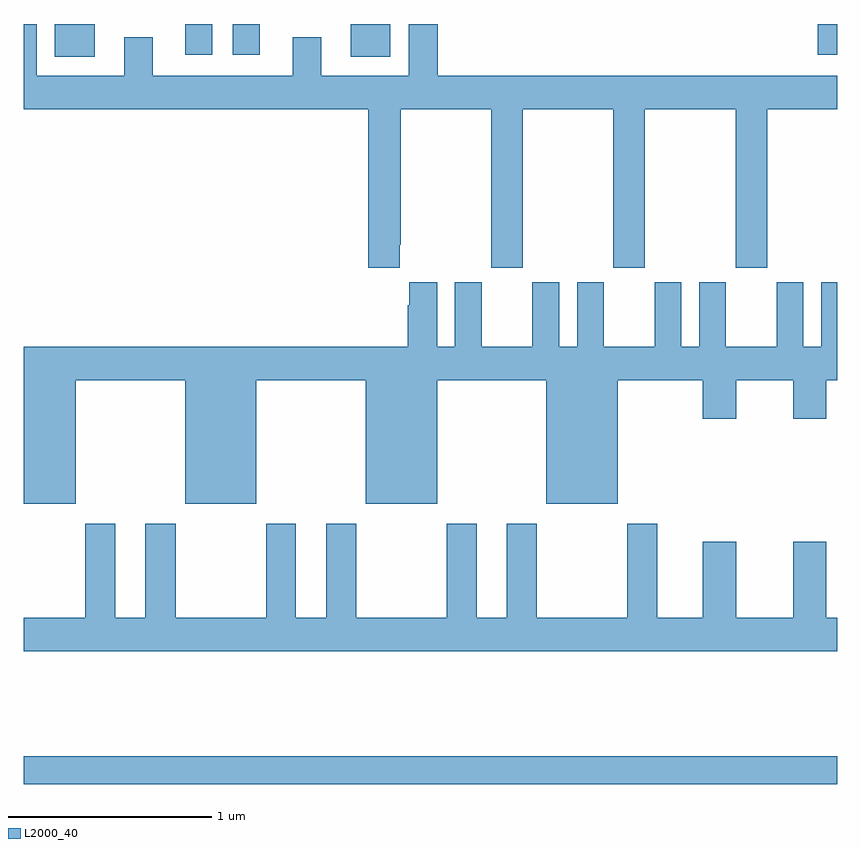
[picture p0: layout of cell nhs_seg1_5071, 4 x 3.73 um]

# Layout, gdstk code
import gdstk
lib = gdstk.Library(unit=1e-6, precision=1e-09)
def R(c, l, rs):  # rectangles x0, y0, x1, y1
    for r in rs: c.add(gdstk.rectangle(r[:2], r[2:], *l))
def P(c, l, *ps):  # polygons
    for p in ps: c.add(gdstk.Polygon(p, *l))
L2000_40 = (2000, 40)

nhs_seg1_5071 = lib.new_cell('nhs_seg1_5071')
R(nhs_seg1_5071, L2000_40, [(387,500.464,391,500.6), (387.153,504.038,387.349,504.199), (388.607,504.038,388.803,504.199), (387.794,504.048,387.928,504.199), (388.028,504.048,388.162,504.199), (390.902,504.048,391,504.199)])
P(nhs_seg1_5071, L2000_40, [(388.462,504.134),(388.322,504.134),(388.322,503.944),(387.634,503.944),(387.634,504.134),(387.494,504.134),(387.494,503.944),(387.064,503.944),(387.064,504.199),(387,504.199),(387,503.78),(388.694,503.78),(388.694,503.001),(388.849,503.001),(388.849,503.113),(388.854,503.113),(388.854,503.78),(389.299,503.78),(389.299,503.001),(389.454,503.001),(389.454,503.78),(389.899,503.78),(389.899,503.001),(390.054,503.001),(390.054,503.78),(390.499,503.78),(390.499,503.001),(390.654,503.001),(390.654,503.78),(391,503.78),(391,503.944),(389.036,503.944),(389.036,504.199),(388.892,504.199),(388.892,503.944),(388.462,503.944)],
  [(387.256,502.448),(387.794,502.448),(387.794,501.842),(388.144,501.842),(388.144,502.448),(388.682,502.448),(388.682,501.842),(389.032,501.842),(389.032,502.448),(389.57,502.448),(389.57,501.842),(389.92,501.842),(389.92,502.448),(390.338,502.448),(390.338,502.26),(390.502,502.26),(390.502,502.448),(390.782,502.448),(390.782,502.26),(390.946,502.26),(390.946,502.448),(391,502.448),(391,502.93),(390.92,502.93),(390.92,502.612),(390.832,502.612),(390.832,502.93),(390.701,502.93),(390.701,502.612),(390.451,502.612),(390.451,502.93),(390.32,502.93),(390.32,502.612),(390.232,502.612),(390.232,502.93),(390.101,502.93),(390.101,502.612),(389.851,502.612),(389.851,502.93),(389.72,502.93),(389.72,502.612),(389.632,502.612),(389.632,502.93),(389.501,502.93),(389.501,502.612),(389.251,502.612),(389.251,502.93),(389.12,502.93),(389.12,502.612),(389.032,502.612),(389.032,502.93),(388.895,502.93),(388.895,502.817),(388.889,502.817),(388.889,502.612),(387,502.612),(387,501.842),(387.256,501.842)],
  [(391,501.28),(390.946,501.28),(390.946,501.655),(390.782,501.655),(390.782,501.28),(390.502,501.28),(390.502,501.655),(390.338,501.655),(390.338,501.28),(390.115,501.28),(390.115,501.742),(389.968,501.742),(389.968,501.28),(389.523,501.28),(389.523,501.742),(389.375,501.742),(389.375,501.28),(389.227,501.28),(389.227,501.742),(389.08,501.742),(389.08,501.28),(388.635,501.28),(388.635,501.742),(388.487,501.742),(388.487,501.28),(388.339,501.28),(388.339,501.742),(388.192,501.742),(388.192,501.28),(387.747,501.28),(387.747,501.742),(387.599,501.742),(387.599,501.28),(387.451,501.28),(387.451,501.742),(387.304,501.742),(387.304,501.28),(387,501.28),(387,501.116),(391,501.116)])

lib.write_gds('nhs_seg1_5071.gds')
